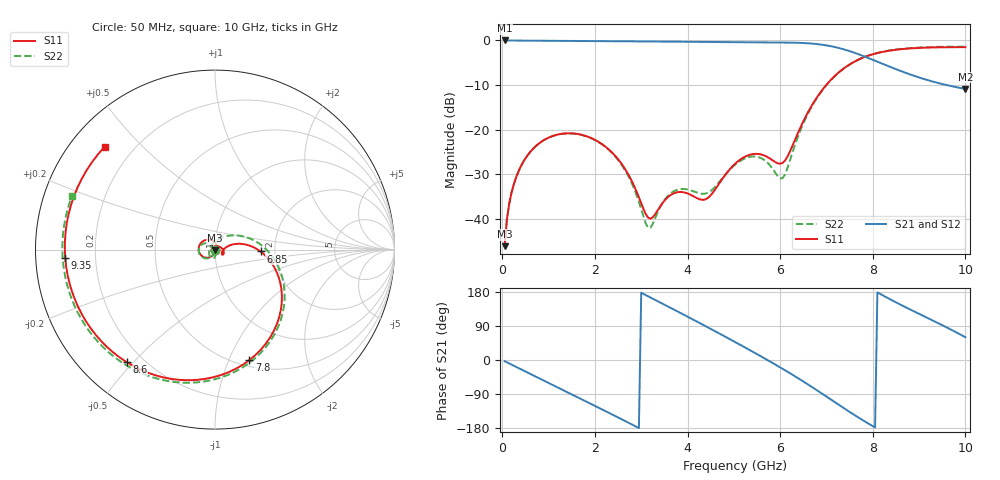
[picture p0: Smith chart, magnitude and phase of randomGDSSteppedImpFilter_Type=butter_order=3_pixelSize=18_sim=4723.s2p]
! freq	dB(S11)	phase(S11)	dB(S12)	phase(S12)
!  dB(S21)	phase(S21)	dB(S22)	phase(S22)
!S-par simulation data
#  GHz  S  DB  R 50
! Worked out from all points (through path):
!   200 points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, 50 MHz to 10 GHz, reference 50 ohm
!   highest |S21| = -0.01 dB at 50 MHz (marker M1); lowest = -10.9 dB at 10 GHz (marker M2)
!   group delay of S21, straight-line fit = 187 ps
!   lowest |S11| = -46.1 dB at 50 MHz (marker M3), VSWR 1.01, Z = 50 - j0.498 ohm
!   |S11| at or under -10 dB: start of sweep to 6.993 GHz
!   |S22| runs from -46.1 to -1.4 dB; largest |S21 - S12| = 0
!   S11 on the Smith chart (normalised r, x): 50 MHz: 1.00, -0.01; 6.85 GHz: 1.68, -0.04; 7.8 GHz: 0.56, -1.19; 8.6 GHz: 0.14, -0.48; 9.35 GHz: 0.09, -0.03; 10 GHz: 0.10, +0.39
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0.05  -46.05 -92.0  -0.01 -3.1  -0.01 -3.1  -46.05 -91.7
0.1  -40.04 -95.7  -0.01 -6.2  -0.01 -6.2  -40.04 -95.0
0.2  -34.06 -102.2  -0.02 -12.2  -0.02 -12.2  -34.05 -100.9
0.55  -25.66 -124.9  -0.05 -33.4  -0.05 -33.4  -25.65 -121.3
1.15  -21.19 -164.7  -0.11 -69.5  -0.11 -69.5  -21.20 -156.2
1.75  -21.23 155.4  -0.16 -105.7  -0.16 -105.7  -21.25 170.8
2.55  -27.26 94.5  -0.19 -154.7  -0.19 -154.7  -27.45 132.6
3.15  -39.68 -13.1  -0.23 168.1  -0.23 168.1  -41.96 173.1
3.4  -37.29 -89.1  -0.25 152.4  -0.25 152.4  -37.50 -135.0
3.75  -34.05 -140.6  -0.28 130.3  -0.28 130.3  -33.54 -131.2
4.25  -35.52 141.7  -0.31 98.3  -0.31 98.3  -34.20 -122.0
5.05  -27.39 2.8  -0.37 45.9  -0.37 45.9  -27.62 -90.8
5.55  -25.45 -30.9  -0.41 12.1  -0.41 12.1  -26.18 -119.8
6.05  -27.44 -11.6  -0.45 -23.0  -0.45 -23.0  -30.84 141.8
6.7  -14.27 6.6  -0.72 -72.3  -0.72 -72.3  -14.49 21.3
6.85  -11.91 -2.3  -0.88 -84.3  -0.88 -84.3  -12.04 7.5
7.35  -6.45 -38.7  -1.92 -125.0  -1.92 -125.0  -6.47 -35.2
7.8  -3.81 -72.8  -3.51 -160.1  -3.51 -160.1  -3.79 -70.0
8.35  -2.31 -111.5  -5.81 161.8  -5.81 161.8  -2.26 -106.9
8.6  -1.97 -128.0  -6.83 145.9  -6.83 145.9  -1.91 -121.9
9.35  -1.56 -176.7  -9.36 100.9  -9.36 100.9  -1.46 -163.7
10  -1.51 137.0  -10.86 60.0  -10.86 60.0  -1.40 159.3
